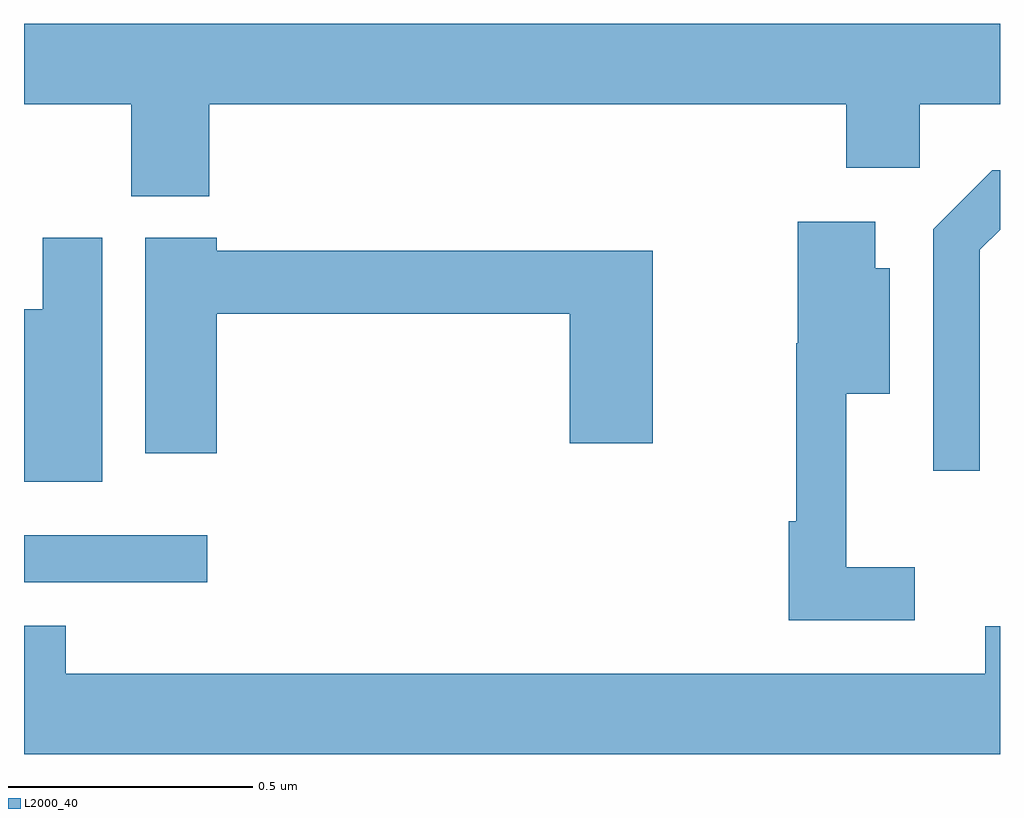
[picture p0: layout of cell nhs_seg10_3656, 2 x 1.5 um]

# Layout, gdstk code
import gdstk
lib = gdstk.Library(unit=1e-6, precision=1e-09)
def R(c, l, rs):  # rectangles x0, y0, x1, y1
    for r in rs: c.add(gdstk.rectangle(r[:2], r[2:], *l))
def P(c, l, *ps):  # polygons
    for p in ps: c.add(gdstk.Polygon(p, *l))
L2000_40 = (2000, 40)

nhs_seg10_3656 = lib.new_cell('nhs_seg10_3656')
R(nhs_seg10_3656, L2000_40, [(156,1286.016,156.376,1286.112)])
P(nhs_seg10_3656, L2000_40, [(156.38,1286.996),(157.685,1286.996),(157.685,1286.865),(157.836,1286.865),(157.836,1286.996),(158,1286.996),(158,1287.16),(156,1287.16),(156,1286.996),(156.22,1286.996),(156.22,1286.807),(156.38,1286.807)],
  [(157.959,1286.697),(158,1286.738),(158,1286.86),(157.984,1286.86),(157.863,1286.739),(157.863,1286.244),(157.959,1286.244)],
  [(157.825,1286.047),(157.685,1286.047),(157.685,1286.402),(157.774,1286.402),(157.774,1286.659),(157.744,1286.659),(157.744,1286.755),(157.586,1286.755),(157.586,1286.506),(157.582,1286.506),(157.582,1286.141),(157.567,1286.141),(157.567,1285.938),(157.825,1285.938)],
  [(156.395,1286.566),(157.118,1286.566),(157.118,1286.301),(157.288,1286.301),(157.288,1286.695),(156.395,1286.695),(156.395,1286.722),(156.248,1286.722),(156.248,1286.28),(156.395,1286.28)],
  [(156.16,1286.722),(156.038,1286.722),(156.038,1286.575),(156,1286.575),(156,1286.222),(156.16,1286.222)],
  [(158,1285.926),(157.97,1285.926),(157.97,1285.828),(156.086,1285.828),(156.086,1285.927),(156,1285.927),(156,1285.664),(158,1285.664)])

lib.write_gds('nhs_seg10_3656.gds')
